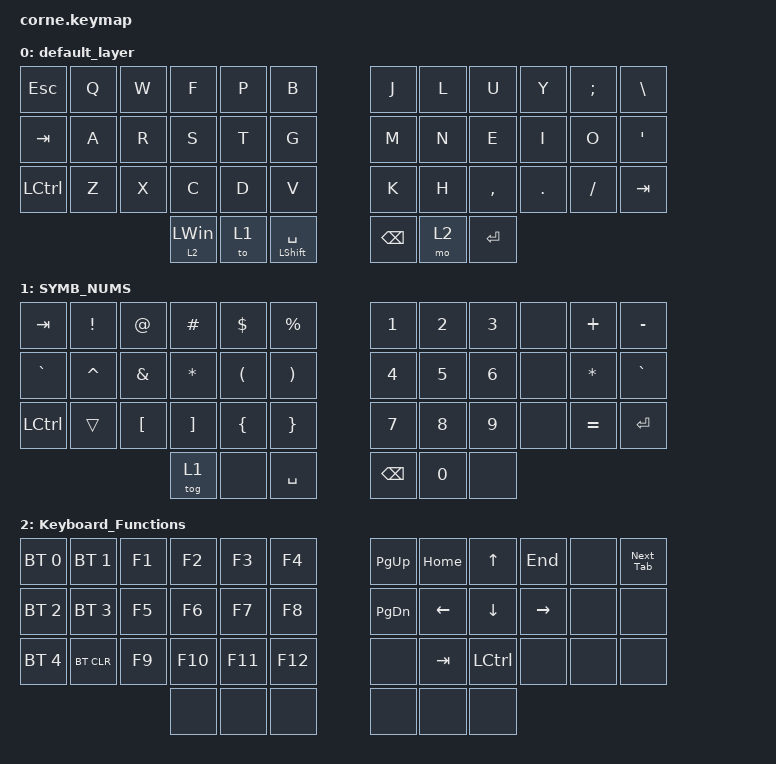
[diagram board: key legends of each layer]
/*
 * Copyright (c) 2020 The ZMK Contributors
 *
 * SPDX-License-Identifier: MIT
 */

#include <behaviors.dtsi>
#include <dt-bindings/zmk/bt.h>
#include <dt-bindings/zmk/keys.h>

/ {
    macros {
        Next_Tab: Next_Tab {
            compatible = "zmk,behavior-macro";
            #binding-cells = <0>;
            bindings = <&macro_press>, <&kp LCTRL>, <&macro_press>, <&kp TAB>;

            label = "NEXT_TAB";
        };
    };

    keymap {
        compatible = "zmk,keymap";

        default_layer {
            // -----------------------------------------------------------------------------------------
            // |  TAB |  Q  |  W  |  E  |  R  |  T  |   |  Y  |  U   |  I  |  O  |  P  | BSPC |
            // | CTRL |  A  |  S  |  D  |  F  |  G  |   |  H  |  J   |  K  |  L  |  ;  |  '   |
            // | SHFT |  Z  |  X  |  C  |  V  |  B  |   |  N  |  M   |  ,  |  .  |  /  | ESC  |
            //                    | GUI | LWR | SPC |   | ENT | RSE  | ALT |

            bindings = <
&kp ESCAPE        &kp Q  &kp W  &kp F           &kp P  &kp B                   &kp J          &kp L  &kp U      &kp Y    &kp SEMICOLON  &kp BSLH
&kp TAB           &kp A  &kp R  &kp S           &kp T  &kp G                   &kp M          &kp N  &kp E      &kp I    &kp O          &kp APOS
&kp LEFT_CONTROL  &kp Z  &kp X  &kp C           &kp D  &kp V                   &kp K          &kp H  &kp COMMA  &kp DOT  &kp FSLH       &kp TAB
                                &lt 2 LEFT_WIN  &to 1  &mt LEFT_SHIFT SPACE    &kp BACKSPACE  &mo 2  &kp ENTER
            >;
        };

        SYMB_NUMS {
            // -----------------------------------------------------------------------------------------
            // |  TAB |  1  |  2  |  3  |  4  |  5  |   |  6  |  7  |  8  |  9  |  0  | BSPC |
            // | BTCLR| BT1 | BT2 | BT3 | BT4 | BT5 |   | LFT | DWN |  UP | RGT |     |      |
            // | SHFT |     |     |     |     |     |   |     |     |     |     |     |      |
            //                    | GUI |     | SPC |   | ENT |     | ALT |

            bindings = <
&kp TAB    &kp EXCL   &kp AT    &kp HASH  &kp DOLLAR            &kp PERCENT              &kp NUMBER_1   &kp NUMBER_2  &kp NUMBER_3  &none  &kp PLUS   &kp MINUS
&kp GRAVE  &kp CARET  &kp AMPS  &kp STAR  &kp LEFT_PARENTHESIS  &kp RIGHT_PARENTHESIS    &kp NUMBER_4   &kp N5        &kp NUMBER_6  &none  &kp STAR   &kp GRAVE
&kp LCTRL  &trans     &kp LBKT  &kp RBKT  &kp LEFT_BRACE        &kp RIGHT_BRACE          &kp N7         &kp N8        &kp N9        &none  &kp EQUAL  &kp RET
                                &tog 1    &none                 &kp SPACE                &kp BACKSPACE  &kp N0        &none
            >;
        };

        Keyboard_Functions {
            bindings = <
&bt BT_SEL 0  &bt BT_SEL 1  &kp F1  &kp F2   &kp F3   &kp F4     &kp PAGE_UP    &kp HOME        &kp UP_ARROW    &kp END          &none  &Next_Tab
&bt BT_SEL 2  &bt BT_SEL 3  &kp F5  &kp F6   &kp F7   &kp F8     &kp PAGE_DOWN  &kp LEFT_ARROW  &kp DOWN_ARROW  &kp RIGHT_ARROW  &none  &none
&bt BT_SEL 4  &bt BT_CLR    &kp F9  &kp F10  &kp F11  &kp F12    &none          &kp TAB         &kp LCTRL       &none            &none  &none
                                    &none    &none    &none      &none          &none           &none
            >;
        };
    };
};
